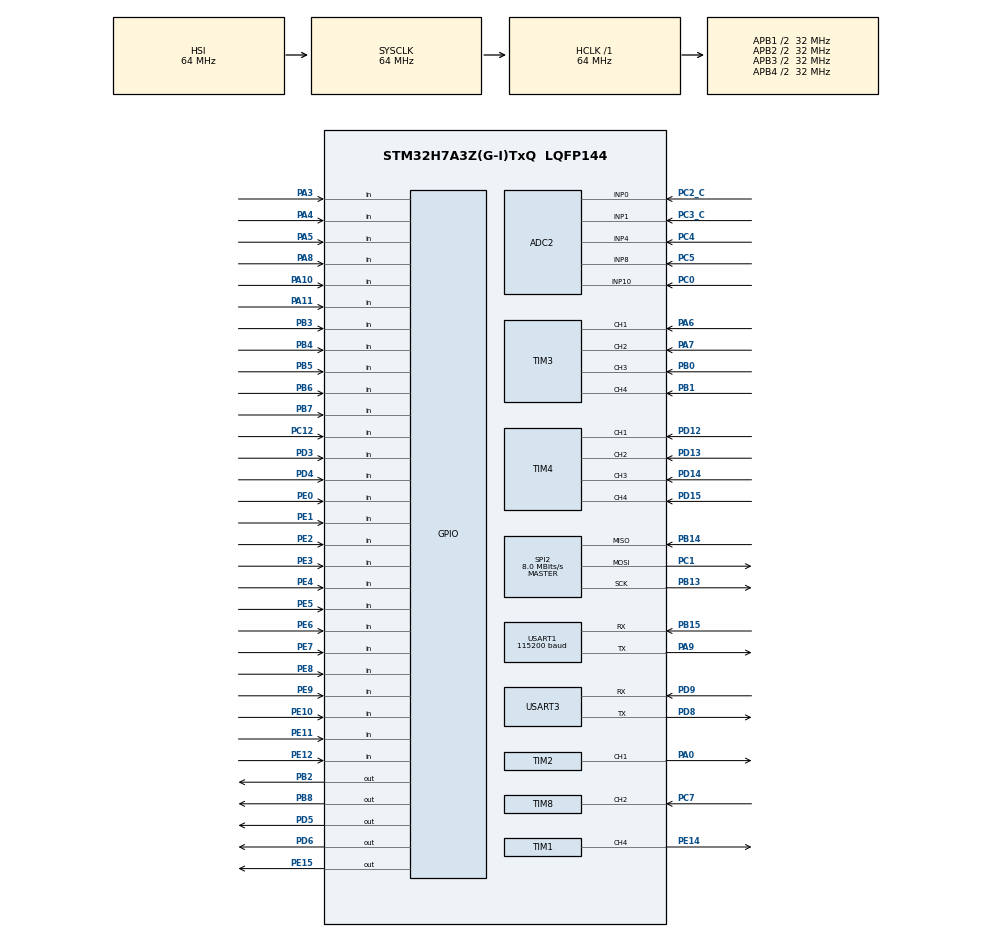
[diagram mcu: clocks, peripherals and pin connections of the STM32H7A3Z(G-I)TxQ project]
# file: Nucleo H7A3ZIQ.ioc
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ADC2.Channel-2\#ChannelRegularConversion=ADC_CHANNEL_0
ADC2.NbrOfConversionFlag=1
ADC2.OffsetNumber-2\#ChannelRegularConversion=ADC_OFFSET_NONE
ADC2.OffsetSignedSaturation-2\#ChannelRegularConversion=DISABLE
ADC2.Rank-2\#ChannelRegularConversion=1
ADC2.SamplingTime-2\#ChannelRegularConversion=ADC_SAMPLETIME_1CYCLE_5
CORTEX_M7.CPU_DCache=Disabled
CORTEX_M7.Enable-Cortex_Memory_Protection_Unit_Region0_Settings=MPU_REGION_ENABLE
CORTEX_M7.Enable-Cortex_Memory_Protection_Unit_Region1_Settings=MPU_REGION_ENABLE
CORTEX_M7.MPU_Control=__NULL
Dma.Request0=TIM3_CH1
Dma.Request1=USART3_RX
Dma.Request2=USART3_TX
Dma.TIM3_CH1.0.Direction=DMA_PERIPH_TO_MEMORY
Dma.TIM3_CH1.0.EventEnable=DISABLE
Dma.TIM3_CH1.0.FIFOMode=DMA_FIFOMODE_DISABLE
Dma.TIM3_CH1.0.Instance=DMA1_Stream0
Dma.TIM3_CH1.0.MemDataAlignment=DMA_MDATAALIGN_HALFWORD
Dma.TIM3_CH1.0.MemInc=DMA_MINC_ENABLE
Dma.TIM3_CH1.0.Mode=DMA_CIRCULAR
Dma.TIM3_CH1.0.PeriphDataAlignment=DMA_PDATAALIGN_HALFWORD
Dma.TIM3_CH1.0.PeriphInc=DMA_PINC_DISABLE
Dma.TIM3_CH1.0.Polarity=HAL_DMAMUX_REQ_GEN_RISING
Dma.TIM3_CH1.0.Priority=DMA_PRIORITY_LOW
Dma.TIM3_CH1.0.RequestNumber=1
Dma.TIM3_CH1.0.SignalID=NONE
Dma.TIM3_CH1.0.SyncEnable=DISABLE
Dma.TIM3_CH1.0.SyncPolarity=HAL_DMAMUX_SYNC_NO_EVENT
Dma.TIM3_CH1.0.SyncRequestNumber=1
Dma.TIM3_CH1.0.SyncSignalID=NONE
Dma.USART3_RX.1.Direction=DMA_PERIPH_TO_MEMORY
Dma.USART3_RX.1.EventEnable=DISABLE
Dma.USART3_RX.1.FIFOMode=DMA_FIFOMODE_DISABLE
Dma.USART3_RX.1.Instance=DMA1_Stream1
Dma.USART3_RX.1.MemDataAlignment=DMA_MDATAALIGN_BYTE
Dma.USART3_RX.1.MemInc=DMA_MINC_ENABLE
Dma.USART3_RX.1.Mode=DMA_CIRCULAR
Dma.USART3_RX.1.PeriphDataAlignment=DMA_PDATAALIGN_BYTE
Dma.USART3_RX.1.PeriphInc=DMA_PINC_DISABLE
Dma.USART3_RX.1.Polarity=HAL_DMAMUX_REQ_GEN_RISING
Dma.USART3_RX.1.Priority=DMA_PRIORITY_HIGH
Dma.USART3_RX.1.RequestNumber=1
Dma.USART3_RX.1.SignalID=NONE
Dma.USART3_RX.1.SyncEnable=DISABLE
Dma.USART3_RX.1.SyncPolarity=HAL_DMAMUX_SYNC_NO_EVENT
Dma.USART3_RX.1.SyncRequestNumber=1
Dma.USART3_RX.1.SyncSignalID=NONE
Dma.USART3_TX.2.Direction=DMA_MEMORY_TO_PERIPH
Dma.USART3_TX.2.EventEnable=DISABLE
Dma.USART3_TX.2.FIFOMode=DMA_FIFOMODE_DISABLE
Dma.USART3_TX.2.Instance=DMA1_Stream2
Dma.USART3_TX.2.MemDataAlignment=DMA_MDATAALIGN_BYTE
Dma.USART3_TX.2.MemInc=DMA_MINC_ENABLE
Dma.USART3_TX.2.Mode=DMA_CIRCULAR
Dma.USART3_TX.2.PeriphDataAlignment=DMA_PDATAALIGN_BYTE
Dma.USART3_TX.2.PeriphInc=DMA_PINC_DISABLE
Dma.USART3_TX.2.Polarity=HAL_DMAMUX_REQ_GEN_RISING
Dma.USART3_TX.2.Priority=DMA_PRIORITY_HIGH
Dma.USART3_TX.2.RequestNumber=1
Dma.USART3_TX.2.SignalID=NONE
Dma.USART3_TX.2.SyncEnable=DISABLE
Dma.USART3_TX.2.SyncPolarity=HAL_DMAMUX_SYNC_NO_EVENT
Dma.USART3_TX.2.SyncRequestNumber=1
Dma.USART3_TX.2.SyncSignalID=NONE
Mcu.Family=STM32H7
Mcu.Name=STM32H7A3Z(G-I)TxQ
Mcu.Package=LQFP144
NVIC.DMA1_Stream0_IRQn=true\:0\:0\:false\:false\:true\:false\:true
NVIC.DMA1_Stream1_IRQn=true\:0\:0\:false\:false\:true\:false\:true
NVIC.DMA1_Stream2_IRQn=true\:0\:0\:false\:false\:true\:false\:true
NVIC.PriorityGroup=NVIC_PRIORITYGROUP_4
NVIC.TIM3_IRQn=true\:0\:0\:false\:false\:true\:true\:true
NVIC.TIM8_CC_IRQn=true\:0\:0\:false\:false\:true\:true\:true
NVIC.USART1_IRQn=true\:0\:0\:false\:false\:true\:true\:true
PA0.Signal=S_TIM2_CH1
PA10.Signal=GPIO_Input
PA11.Signal=GPIO_Input
PA13.Mode=Serial_Wire
PA13.Signal=DEBUG_JTMS-SWDIO
PA14.Mode=Serial_Wire
PA14.Signal=DEBUG_JTCK-SWCLK
PA3.Signal=GPIO_Input
PA4.Signal=GPIO_Input
PA5.Signal=GPIO_Input
PA6.Signal=S_TIM3_CH1
PA7.Signal=S_TIM3_CH2
PA8.Signal=GPIO_Input
PA9.Mode=Asynchronous
PA9.Signal=USART1_TX
PB0.Signal=S_TIM3_CH3
PB1.Signal=S_TIM3_CH4
PB11.Signal=S_TIM2_CH4
PB13.GPIO_Speed=GPIO_SPEED_FREQ_HIGH
PB13.Mode=Full_Duplex_Master
PB13.Signal=SPI2_SCK
PB14.GPIO_Speed=GPIO_SPEED_FREQ_HIGH
PB14.Mode=Full_Duplex_Master
PB14.Signal=SPI2_MISO
PB15.Mode=Asynchronous
PB15.Signal=USART1_RX
PB2.Signal=GPIO_Output
PB3.Signal=GPIO_Input
PB4.Signal=GPIO_Input
PB5.Signal=GPIO_Input
PB6.Signal=GPIO_Input
PB7.Signal=GPIO_Input
PB8.Signal=GPIO_Output
PC0.Signal=ADCx_INP10
PC1.GPIO_Speed=GPIO_SPEED_FREQ_HIGH
PC1.Mode=Full_Duplex_Master
PC1.Signal=SPI2_MOSI
PC12.Signal=GPIO_Input
PC2_C.Mode=IN0-Single-Ended
PC2_C.Signal=ADC2_INP0
PC3_C.Mode=IN1-Single-Ended
PC3_C.Signal=ADC2_INP1
PC4.Signal=ADCx_INP4
PC5.Signal=ADCx_INP8
PC7.Signal=S_TIM8_CH2
PD12.Signal=S_TIM4_CH1
PD13.Signal=S_TIM4_CH2
PD14.Signal=S_TIM4_CH3
PD15.Signal=S_TIM4_CH4
PD3.Signal=GPIO_Input
PD4.Signal=GPIO_Input
PD5.Signal=GPIO_Output
PD6.Signal=GPIO_Output
PD8.Mode=Asynchronous
PD8.Signal=USART3_TX
PD9.Mode=Asynchronous
PD9.Signal=USART3_RX
PE0.Signal=GPIO_Input
PE1.Signal=GPIO_Input
PE10.Signal=GPIO_Input
PE11.Signal=GPIO_Input
PE12.Signal=GPIO_Input
PE14.Signal=S_TIM1_CH4
PE15.Signal=GPIO_Output
PE2.Signal=GPIO_Input
PE3.Signal=GPIO_Input
PE4.Signal=GPIO_Input
PE5.Signal=GPIO_Input
PE6.Signal=GPIO_Input
PE7.Signal=GPIO_Input
PE8.Signal=GPIO_Input
PE9.Signal=GPIO_Input
ProjectManager.HeapSize=0x200
ProjectManager.StackSize=0x400
ProjectManager.TargetToolchain=EWARM V8.32
RCC.ADCFreq_Value=129000000
RCC.APB1Freq_Value=32000000
RCC.APB2Freq_Value=32000000
RCC.APB3Freq_Value=32000000
RCC.APB4Freq_Value=32000000
RCC.CDPPRE=RCC_APB3_DIV2
RCC.CDPPRE1=RCC_APB1_DIV2
RCC.CDPPRE2=RCC_APB2_DIV2
RCC.CortexFreq_Value=64000000
RCC.DIVM1=4
RCC.DIVN1=8
RCC.DIVQ1=1
RCC.HCLKFreq_Value=64000000
RCC.PLLFRACN=0
RCC.SRDPPRE=RCC_APB4_DIV2
RCC.SYSCLKFreq_VALUE=64000000
RCC.USBFreq_Value=128000000
SH.ADCx_INP10.0=ADC2_INP10,IN10-Single-Ended
SH.ADCx_INP4.0=ADC2_INP4,IN4-Single-Ended
SH.ADCx_INP8.0=ADC2_INP8,IN8-Single-Ended
SH.S_TIM1_CH4.0=TIM1_CH4,PWM Generation4 CH4
SH.S_TIM2_CH1.0=TIM2_CH1,PWM Generation1 CH1
SH.S_TIM2_CH4.0=TIM2_CH4
SH.S_TIM3_CH1.0=TIM3_CH1,Input_Capture1_from_TI1
SH.S_TIM3_CH2.0=TIM3_CH2,Input_Capture2_from_TI2
SH.S_TIM3_CH3.0=TIM3_CH3,Input_Capture3_from_TI3
SH.S_TIM3_CH4.0=TIM3_CH4,Input_Capture4_from_TI4
SH.S_TIM4_CH1.0=TIM4_CH1,Input_Capture1_from_TI1
SH.S_TIM4_CH2.0=TIM4_CH2,Input_Capture2_from_TI2
SH.S_TIM4_CH3.0=TIM4_CH3,Input_Capture3_from_TI3
SH.S_TIM4_CH4.0=TIM4_CH4,Input_Capture4_from_TI4
SH.S_TIM8_CH2.0=TIM8_CH2,Input_Capture2_from_TI2
SH.S_TIM8_CH2.1=TIM8_CH2,Input_Capture1_from_TI2
SPI2.BaudRatePrescaler=SPI_BAUDRATEPRESCALER_16
SPI2.CRCCalculation=SPI_CRCCALCULATION_DISABLE
SPI2.CalculateBaudRate=8.0 MBits/s
SPI2.DataSize=SPI_DATASIZE_8BIT
SPI2.Direction=SPI_DIRECTION_2LINES
SPI2.Mode=SPI_MODE_MASTER
SPI2.VirtualType=VM_MASTER
TIM1.Channel-PWM\ Generation4\ CH4=TIM_CHANNEL_4
TIM1.Period=64000
TIM1.Pulse-PWM\ Generation4\ CH4=32000
TIM2.Channel-PWM\ Generation1\ CH1=TIM_CHANNEL_1
TIM2.Period=4000
TIM2.Pulse-PWM\ Generation1\ CH1=2000
TIM3.Channel-Input_Capture1_from_TI1=TIM_CHANNEL_1
TIM3.Channel-Input_Capture2_from_TI2=TIM_CHANNEL_2
TIM3.Channel-Input_Capture3_from_TI3=TIM_CHANNEL_3
TIM3.Channel-Input_Capture4_from_TI4=TIM_CHANNEL_4
TIM3.TIM_MasterSlaveMode=TIM_MASTERSLAVEMODE_DISABLE
TIM4.Channel-Input_Capture1_from_TI1=TIM_CHANNEL_1
TIM4.Channel-Input_Capture2_from_TI2=TIM_CHANNEL_2
TIM4.Channel-Input_Capture3_from_TI3=TIM_CHANNEL_3
TIM4.Channel-Input_Capture4_from_TI4=TIM_CHANNEL_4
TIM8.Channel-Input_Capture1_from_TI2=TIM_CHANNEL_1
TIM8.Channel-Input_Capture2_from_TI2=TIM_CHANNEL_2
TIM8.ICPolarity_CH1=TIM_INPUTCHANNELPOLARITY_FALLING
USART1.BaudRate=115200
USART1.FIFOMode=FIFOMODE_ENABLE
USART1.VirtualMode-Asynchronous=VM_ASYNC
USART3.FIFOMode=FIFOMODE_DISABLE
USART3.VirtualMode-Asynchronous=VM_ASYNC
VP_ADC2_TempSens_Input.Mode=IN-TempSens
VP_ADC2_Vbat_Input.Mode=IN-Vbat
VP_ADC2_Vref_Input.Mode=IN-Vrefint
board=custom

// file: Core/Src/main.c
/* USER CODE BEGIN Header */
/**
  ******************************************************************************
  * @file           : main.c
  * @brief          : Main program body
  ******************************************************************************
  * @attention
  *
  * <h2><center>&copy; Copyright (c) 2021 STMicroelectronics.
  * All rights reserved.</center></h2>
  *
  * This software component is licensed by ST under BSD 3-Clause license,
  * the "License"; You may not use this file except in compliance with the
  * License. You may obtain a copy of the License at:
  *                        opensource.org/licenses/BSD-3-Clause
  *
  ******************************************************************************
  */
#include <stdio.h>
#include <string.h>
#include <stdbool.h>
/* USER CODE END Header */
#include "main.h"

/* USER CODE BEGIN PD */
#define ECOMILK_DEBUG           0
#if ECOMILK_DEBUG == 1
  #define DEBUG_PRINT           printf
#else
  #define DEBUG_PRINT
#endif
#define ECOMILK_DEBUG_TIMEOUT   10
#define ECOMILK_TIMEOUT         ECOMILK_DEBUG_TIMEOUT
/* USER CODE END PD */

/* USER CODE BEGIN PM */

//Inputs
#define	ACTUATOR_BACKWARD_COM_PORT      GPIOE
#define	ACTUATOR_BACKWARD_COM_PIN       GPIO_PIN_12
#define	ACTUATOR_FORWARD_COM_PORT       GPIOE
#define	ACTUATOR_FORWARD_COM_PIN        GPIO_PIN_11
#define	ROTATE_Z_CW_COM_PORT            GPIOE
#define	ROTATE_Z_CW_COM_PIN             GPIO_PIN_10
#define	ROTATE_Z_CCW_COM_PORT           GPIOE
#define	ROTATE_Z_CCW_COM_PIN            GPIO_PIN_9
#define	TILT_CCW_COM_PORT               GPIOE
#define	TILT_CCW_COM_PIN                GPIO_PIN_8
#define	TILT_CW_COM_PORT                GPIOE
#define	TILT_CW_COM_PIN                 GPIO_PIN_7
#define	MOTOR_Z_DOWN_COM_PORT           GPIOE
#define	MOTOR_Z_DOWN_COM_PIN            GPIO_PIN_6
#define	MOTOR_Z_UP_COM_PORT             GPIOE
#define	MOTOR_Z_UP_COM_PIN              GPIO_PIN_5
#define	ACTUATOR_Y_BACKWARD_COM_PORT    GPIOE
#define	ACTUATOR_Y_BACKWARD_COM_PIN     GPIO_PIN_4
#define	ACTUATOR_Y_FORWARD_COM_PORT     GPIOE
#define	ACTUATOR_Y_FORWARD_COM_PIN      GPIO_PIN_3
#define	X_BACKWARD_COM_PORT             GPIOE
#define	X_BACKWARD_COM_PIN              GPIO_PIN_2
#define	X_FORWARD_COM_PORT              GPIOE
#define	X_FORWARD_COM_PIN               GPIO_PIN_1

//Outputs
#define	CS_N_PORT                       GPIOB
#define	CS_N_PIN                        GPIO_PIN_8
#define	MOT_M1_PORT                     GPIOD
#define	MOT_M1_PIN                      GPIO_PIN_6

#define DIR_MOTOR_Z                             1
#define DIR_MOTOR_TILT                          2
#define DIR_MOTOR_ROTATE                        3
#define DIR_MOTOR_X                             4
#define DIR_MOTOR_1                             5
#define DIR_MOTOR_2                             6
#define DIR_MOTOR_Y                             7
#define DIR_MOTOR_SP_1                          0
#define DIR_MOTOR_END_AFFECTO                   1
#define DIR_MOTOR_END_AFFECTO_A_1_2_3_4         2

#define LIN_MOTOR_Y                             1
#define LIN_MOTOR_SP_1                          2
#define LIN_MOTOR_END_AFFECTO                   3
#define LIN_MOTOR_END_AFFECTO_2                 4
#define LIN_MOTOR_END_AFFECTO_3                 5
#define LIN_MOTOR_END_AFFECTO_4                 6

#define DEC0                                    5
#define DEC1                                    6
#define DEC2                                    7

/* USER CODE END PM */

ADC_HandleTypeDef hadc2;

SPI_HandleTypeDef hspi2;

TIM_HandleTypeDef htim1;
TIM_HandleTypeDef htim2;
TIM_HandleTypeDef htim3;
TIM_HandleTypeDef htim4;
TIM_HandleTypeDef htim8;
DMA_HandleTypeDef hdma_tim3_ch1;

UART_HandleTypeDef huart1;
UART_HandleTypeDef huart3;
DMA_HandleTypeDef hdma_usart3_rx;
DMA_HandleTypeDef hdma_usart3_tx;

/* USER CODE BEGIN PV */

static volatile int tim8_falling = 0;
static volatile int tim8_rising = 0;
static volatile int tim8_delta = 0;

uint8_t ecomilk[] = {'\r', '\n', 'E', 'c', 'o', 'M', 'i', 'l', 'k', '\r', '\n'};
/* USER CODE END PV */

void SystemClock_Config(void);
static void MX_GPIO_Init(void);
static void MX_DMA_Init(void);
static void MX_USART1_UART_Init(void);
static void MX_ADC2_Init(void);
static void MX_SPI2_Init(void);
static void MX_TIM1_Init(void);
static void MX_TIM2_Init(void);
static void MX_TIM3_Init(void);
static void MX_TIM4_Init(void);
static void MX_USART3_UART_Init(void);
static void MX_TIM8_Init(void);

/* USER CODE BEGIN 0 */

void cmd_send_32(uint8_t dir_0, uint8_t dir_1, uint8_t cmd_0, uint8_t cmd_1)
{
  uint8_t data[4];
  uint8_t rdata[4];
  memset(data, 0, sizeof(data));
  data[0] = dir_1;
  data[1] = dir_0;
  data[2] = cmd_1;
  data[3] = cmd_0;
  HAL_GPIO_WritePin(CS_N_PORT, CS_N_PIN, GPIO_PIN_RESET);
  HAL_SPI_TransmitReceive(&hspi2, data, rdata, sizeof(data), 500);
  //HAL_SPI_Transmit(&hspi2, data, sizeof(data), 500);
  HAL_GPIO_WritePin(CS_N_PORT, CS_N_PIN, GPIO_PIN_SET);
}

void cmd_send_16(uint8_t cmd_0, uint8_t cmd_1)
{
  uint8_t data[2];
  uint8_t rdata[2];
  memset(data, 0, sizeof(data));
  data[0] = cmd_1;
  data[1] = cmd_0;
  HAL_GPIO_WritePin(CS_N_PORT, CS_N_PIN, GPIO_PIN_RESET);
  HAL_SPI_TransmitReceive(&hspi2, data, rdata, sizeof(data), 500);
  //HAL_SPI_Transmit(&hspi2, data, sizeof(data), 500);
  HAL_GPIO_WritePin(CS_N_PORT, CS_N_PIN, GPIO_PIN_SET);
}

void HAL_TIM_IC_CaptureCallback(TIM_HandleTypeDef *htim)
{
  if(htim->Instance == TIM8)
  {
    if(htim->Channel == HAL_TIM_ACTIVE_CHANNEL_1)
      tim8_falling = READ_REG(htim->Instance->CCR1);
    else if(htim->Channel == HAL_TIM_ACTIVE_CHANNEL_2)
      tim8_rising = READ_REG(htim->Instance->CCR2);

    if(tim8_falling > tim8_rising)
      tim8_delta = tim8_falling - tim8_rising;
  }
}

/* USER CODE END 0 */

int main(void)
{

  /* MCU Configuration--------------------------------------------------------*/

  /* Reset of all peripherals, Initializes the Flash interface and the Systick. */
  HAL_Init();

  /* Configure the system clock */
  SystemClock_Config();

  /* Initialize all configured peripherals */
  MX_GPIO_Init();
  MX_DMA_Init();
  MX_USART1_UART_Init();
  MX_ADC2_Init();
  MX_SPI2_Init();
  MX_TIM1_Init();
  MX_TIM2_Init();
  MX_TIM3_Init();
  MX_TIM4_Init();
  MX_USART3_UART_Init();
  MX_TIM8_Init();
  /* USER CODE BEGIN 2 */
  HAL_TIM_PWM_Start(&htim1, TIM_CHANNEL_4);
  HAL_TIM_PWM_Start(&htim2, TIM_CHANNEL_1);

  volatile uint16_t pData_3_1[] = {0x1111, 0x2222};
  //volatile uint16_t* pData_3_1_0 = &pData_3_1[0];
  //volatile uint16_t* pData_3_1_1 = &pData_3_1[1];
  int period_measured = 0;
  int period = 0;
  HAL_TIM_IC_Start_DMA(&htim3, TIM_CHANNEL_1, (uint32_t*)pData_3_1, sizeof(pData_3_1));

  HAL_TIM_IC_Start_IT(&htim8, TIM_CHANNEL_1);
  HAL_TIM_IC_Start_IT(&htim8, TIM_CHANNEL_2);

  uint8_t pDataTx[] = {0x11, 0x22, 0x33, 0x44, 0x55, 0x66, 0x77, 0x88, 0x99, 0xaa};
  uint8_t pDataRx[10];
  uint8_t pDataTx_USART3_DMA[] = {0x11, 0x22, 0x33, 0x44, 0x55, 0x66, 0x77, 0x88, 0x99, 0xaa};
  uint8_t pDataRx_USART3_DMA[10];

  /* USER CODE END 2 */

  /* Infinite loop */
  /* USER CODE BEGIN WHILE */
  bool actuator_backward = false;
  bool actuator_forward = false;
  bool rotate_z_cw = false;
  bool rotate_z_ccw = false;
  bool tilt_ccw = false;
  bool tilt_cw = false;
  bool motor_z_down = false;
  bool motor_z_up = false;
  bool actuator_y_backward = false;
  bool actuator_y_forward = false;
  bool x_backward = false;
  bool x_forward = false;

  while (1)
  {
    if(__HAL_DMA_GET_FLAG(&hdma_tim3_ch1, DMA_FLAG_TCIF0_4) != 0U)
    {
      //period_measured = *pData_3_1_1 - *pData_3_1_0;
      period_measured = pData_3_1[1] - pData_3_1[0];
      if((period <= 0) || ((period_measured > 0) && (period_measured < (period * 2))))
        period = period_measured;
      printf("period %d\n", period);
    }

    // 1, 2
    //if(HAL_GPIO_ReadPin(ACTUATOR_BACKWARD_COM_PORT, ACTUATOR_BACKWARD_COM_PIN) == GPIO_PIN_SET)
    {
      if(!actuator_backward)
      {
        actuator_backward = true;
        cmd_send_32(0x00, 0x00 | (0x01 << DEC0), 0x00 | (0x01 << LIN_MOTOR_SP_1), 0x00 | (0x01 << DEC0) | (0x01 << DEC1));
      }
    }
    //else
    {
      if(actuator_backward)
      {
        actuator_backward = false;
        cmd_send_16(0x00, 0x00 | (0x01 << DEC0) | (0x01 << DEC1));
      }
    }

    // 3, 4
    //if(HAL_GPIO_ReadPin(ACTUATOR_FORWARD_COM_PORT, ACTUATOR_FORWARD_COM_PIN) == GPIO_PIN_SET)
    {
      if(!actuator_forward)
      {
        actuator_forward = true;
        cmd_send_32(0x00, 0x00 | (1 << DIR_MOTOR_SP_1) | (1 << DEC0), 0x00 | (1 << LIN_MOTOR_SP_1), 0x00 | (1 << DEC0) | (1 << DEC1));
      }
    }
    //else
    {
      if(actuator_forward)
      {
        actuator_forward = false;
        cmd_send_16(0x00 ,0x00 | (1 << DEC0) | (1 << DEC1));
      }
    }

    // 5, 6
    //if(HAL_GPIO_ReadPin(ROTATE_Z_CW_COM_PORT, ROTATE_Z_CW_COM_PIN) == GPIO_PIN_SET)
    {
      if(!rotate_z_cw)
      {
        rotate_z_cw = true;
        cmd_send_32(0x00 | (1 << DIR_MOTOR_ROTATE), 0x00 | (1 << DEC0), 0x00 | (1 << DIR_MOTOR_ROTATE), 0x00 | (1 << DEC1));
      }
    }
    //else
    {
      if(rotate_z_cw)
      {
        rotate_z_cw = false;
        cmd_send_16(0x00, 0x00 | (1 << DEC1));
      }
    }

    // 7, 8
    //if(HAL_GPIO_ReadPin(ROTATE_Z_CCW_COM_PORT, ROTATE_Z_CCW_COM_PIN) == GPIO_PIN_SET)
    {
      if(!rotate_z_ccw)
      {
        rotate_z_ccw = true;
        cmd_send_32(0x00, 0x00 | (1 << DEC0), 0x00 | (1 << DIR_MOTOR_ROTATE), 0x00 | (1 << DEC1));
      }
    }
    //else
    {
      if(rotate_z_ccw)
      {
        rotate_z_ccw = false;
        cmd_send_16(0x00, 0x00 | (1 << DEC1));
      }
    }

    // 9, 10
    //if(HAL_GPIO_ReadPin(TILT_CCW_COM_PORT, TILT_CCW_COM_PIN) == GPIO_PIN_SET)
    {
      if(!tilt_ccw)
      {
        tilt_ccw = true;
        cmd_send_32(0x00, 0x00 | (1 << DEC0), 0x00 | (1 << DIR_MOTOR_TILT), 0x00 | (1 << DEC1));
      }
    }
    //else
    {
      if(tilt_ccw)
      {
        tilt_ccw = false;
        cmd_send_16(0x00, 0x00 | (1 << DEC1));
      }
    }

    // 11, 12
    //if(HAL_GPIO_ReadPin(TILT_CW_COM_PORT, TILT_CW_COM_PIN) == GPIO_PIN_SET)
    {
      if(!tilt_cw)
      {
        tilt_cw = true;
        cmd_send_32(0x00 | (1 << DIR_MOTOR_TILT), 0x00 | (1 << DEC0), 0x00 | (1 << DIR_MOTOR_TILT), 0x00 | (1 << DEC1));
      }
    }
    //else
    {
      if(tilt_cw)
      {
        tilt_cw = false;
        cmd_send_16(0x00, 0x00 | (1 << DEC1));
      }
    }
    // 13, 14
    //if(HAL_GPIO_ReadPin(MOTOR_Z_DOWN_COM_PORT, MOTOR_Z_DOWN_COM_PIN) == GPIO_PIN_SET)
    {
      if(!motor_z_down)
      {
        motor_z_down = true;
        cmd_send_32(0x00, 0x00 | (1 << DEC0), 0x00 | (1 << DIR_MOTOR_Z), 0x00 | (1 << DEC1));
      }
    }
    //else
    {
      if(motor_z_down)
      {
        motor_z_down = false;
        cmd_send_16(0x00, 0x00 | (1 << DEC1));
      }
    }

    // 15, 16
    //if(HAL_GPIO_ReadPin(MOTOR_Z_UP_COM_PORT, MOTOR_Z_UP_COM_PIN) == GPIO_PIN_SET)
    {
      if(!motor_z_up)
      {
        motor_z_up = true;
        cmd_send_32(0x00 | (1 << DIR_MOTOR_Z), 0x00 | (1 << DEC0), 0x00 | (1 << DIR_MOTOR_Z), 0x00 | (1 << DEC1));
      }
    }
    //else
    {
      if(motor_z_up)
      {
        motor_z_up = false;
        cmd_send_16(0x00, 0x00 | (1 << DEC1));
      }
    }

    // 17, 18
    //if(HAL_GPIO_ReadPin(ACTUATOR_Y_BACKWARD_COM_PORT, ACTUATOR_Y_BACKWARD_COM_PIN) == GPIO_PIN_SET)
    {
      if(!actuator_y_backward)
      {
        actuator_y_backward = true;
        cmd_send_32(0x00, 0x00 | (1 << DEC0), 0x00 | (1 << LIN_MOTOR_Y), 0x00 | (1 << DEC0) | (1 << DEC1));
      }
    }
    //else
    {
      if(actuator_y_backward)
      {
        actuator_y_backward = false;
        cmd_send_16(0x00, 0x00 | (1 << DEC0) | (1 << DEC1));
      }
    }

    // 19, 20
    //if(HAL_GPIO_ReadPin(ACTUATOR_Y_FORWARD_COM_PORT, ACTUATOR_Y_FORWARD_COM_PIN) == GPIO_PIN_SET)
    {
      if(!actuator_y_forward)
      {
        actuator_y_forward = true;
        cmd_send_32(0x00 | (1 << DIR_MOTOR_Y), 0x00 | (1 << DEC0), 0x00 | (1 << LIN_MOTOR_Y), 0x00 | (1 << DEC0) | (1 << DEC1));
      }
    }
    //else
    {
      if(actuator_y_forward)
      {
        actuator_y_forward = false;
        cmd_send_16(0x00, 0x00 | (1 << DEC0) | (1 << DEC1));
      }
    }

    // 21, 22
    //if(HAL_GPIO_ReadPin(X_BACKWARD_COM_PORT, X_BACKWARD_COM_PIN) == GPIO_PIN_SET)
    {
      if(!x_backward)
      {
        x_backward = true;
        cmd_send_32(0x00, 0x00 | (1 << DEC0), 0x00 | (1 << DIR_MOTOR_X), 0x00 | (1 << DEC1));
      }
    }
    //else
    {
      if(x_backward)
      {
        x_backward = false;
        cmd_send_16(0x00, 0x00 | (1 << DEC1));
      }
    }

    // 23, 24
    //if(HAL_GPIO_ReadPin(X_FORWARD_COM_PORT, X_FORWARD_COM_PIN) == GPIO_PIN_SET)
    {
      if(!x_forward)
      {
        x_forward = true;
        cmd_send_32(0x00 | (1 << DIR_MOTOR_X), 0x00 | (1 << DEC0), 0x00 | (1 << DIR_MOTOR_X), 0x00 | (1 << DEC1));
      }
    }
    //else
    {
      if(x_forward)
      {
        x_forward = false;
        cmd_send_16(0x00, 0x00 | (1 << DEC1));
      }
    }

    //for(int i = 0; i < 1000; i++);

    // Working

    HAL_UART_Transmit(&huart1, ecomilk, sizeof(ecomilk), ECOMILK_TIMEOUT);
    HAL_UART_Receive(&huart1, ecomilk, sizeof(ecomilk), ECOMILK_TIMEOUT);
    for(int i = 0; i < sizeof(ecomilk); i++)
      printf("%x ", ecomilk[i]);
    printf("\n");

    // USART1 Fifo enabled
    memset(pDataRx, 0, sizeof(pDataRx));
    for(int i = 0; i < 10; i++)
    {
      HAL_UART_Transmit(&huart1, &pDataTx[i], 1, 10);
      HAL_UART_Receive(&huart1, &pDataRx[i], 1, 10);
    }

    memset(pDataRx, 0, sizeof(pDataRx));
    HAL_UART_Transmit(&huart1, pDataTx, sizeof(pDataTx), 10);
    HAL_UART_Receive(&huart1, pDataRx, sizeof(pDataRx), 10);

    memset(pDataRx, 0, sizeof(pDataRx));
    HAL_SPI_TransmitReceive(&hspi2, pDataTx, pDataRx, sizeof(pDataTx), 10);

    memset(pDataRx, 0, sizeof(pDataRx));
    HAL_SPI_Transmit(&hspi2, pDataTx, sizeof(pDataTx), 10);
    HAL_SPI_Receive(&hspi2, pDataRx, sizeof(pDataRx), 10);

    memset(pDataRx, 0, sizeof(pDataRx));
    for(int i = 0; i < 10; i++)
    {
      HAL_SPI_Transmit(&hspi2, &pDataTx[i], 1, 10);
      HAL_SPI_Receive(&hspi2, &pDataRx[i], 1, 10);
    }

    // USART3 Fifo disabled
    memset(pDataRx_USART3_DMA, 0, sizeof(pDataRx_USART3_DMA));
    HAL_UART_Transmit_DMA(&huart3, pDataTx_USART3_DMA, sizeof(pDataTx_USART3_DMA));
    HAL_UART_Receive_DMA(&huart3, pDataRx_USART3_DMA, sizeof(pDataRx_USART3_DMA));
    for(int i = 0; i < sizeof(pDataRx_USART3_DMA); i++)
      printf("%x ", pDataRx_USART3_DMA[i]);
    printf("\n");

    for(int i = 0; i < 1000; i++);

#if 0

    // Working

    {
      memset(pDataRx, 0, sizeof(pDataRx));
      for(int i = 0; i < 10; i++)
      {
        HAL_UART_Transmit(&huart3, &pDataTx[i], 1, 10);
        HAL_UART_Receive(&huart3, &pDataRx[i], 1, 10);
      }
    }

    //Not working
    {
      memset(pDataRx, 0, sizeof(pDataRx));
      HAL_UART_Transmit(&huart3, pDataTx, sizeof(pDataTx), 10);
      HAL_UART_Receive(&huart3, pDataRx, sizeof(pDataRx), 10);
    }

#endif

    /* USER CODE END WHILE */

  }
}

void SystemClock_Config(void)
{
  RCC_OscInitTypeDef RCC_OscInitStruct = {0};
  RCC_ClkInitTypeDef RCC_ClkInitStruct = {0};

  /** Supply configuration update enable
  */
  HAL_PWREx_ConfigSupply(PWR_DIRECT_SMPS_SUPPLY);
  /** Configure the main internal regulator output voltage
  */
  __HAL_PWR_VOLTAGESCALING_CONFIG(PWR_REGULATOR_VOLTAGE_SCALE3);

  while(!__HAL_PWR_GET_FLAG(PWR_FLAG_VOSRDY)) {}
  /** Macro to configure the PLL clock source
  */
  __HAL_RCC_PLL_PLLSOURCE_CONFIG(RCC_PLLSOURCE_HSI);
  /** Initializes the RCC Oscillators according to the specified parameters
  * in the RCC_OscInitTypeDef structure.
  */
  RCC_OscInitStruct.OscillatorType = RCC_OSCILLATORTYPE_HSI;
  RCC_OscInitStruct.HSIState = RCC_HSI_DIV1;
  RCC_OscInitStruct.HSICalibrationValue = RCC_HSICALIBRATION_DEFAULT;
  RCC_OscInitStruct.PLL.PLLState = RCC_PLL_ON;
  RCC_OscInitStruct.PLL.PLLSource = RCC_PLLSOURCE_HSI;
  RCC_OscInitStruct.PLL.PLLM = 4;
  RCC_OscInitStruct.PLL.PLLN = 8;
  RCC_OscInitStruct.PLL.PLLP = 2;
  RCC_OscInitStruct.PLL.PLLQ = 1;
  RCC_OscInitStruct.PLL.PLLR = 2;
  RCC_OscInitStruct.PLL.PLLRGE = RCC_PLL1VCIRANGE_3;
  RCC_OscInitStruct.PLL.PLLVCOSEL = RCC_PLL1VCOWIDE;
  RCC_OscInitStruct.PLL.PLLFRACN = 0;
  if (HAL_RCC_OscConfig(&RCC_OscInitStruct) != HAL_OK)
  {
    Error_Handler();
  }
  /** Initializes the CPU, AHB and APB buses clocks
  */
  RCC_ClkInitStruct.ClockType = RCC_CLOCKTYPE_HCLK|RCC_CLOCKTYPE_SYSCLK
                              |RCC_CLOCKTYPE_PCLK1|RCC_CLOCKTYPE_PCLK2
                              |RCC_CLOCKTYPE_D3PCLK1|RCC_CLOCKTYPE_D1PCLK1;
  RCC_ClkInitStruct.SYSCLKSource = RCC_SYSCLKSOURCE_HSI;
  RCC_ClkInitStruct.SYSCLKDivider = RCC_SYSCLK_DIV1;
  RCC_ClkInitStruct.AHBCLKDivider = RCC_HCLK_DIV1;
  RCC_ClkInitStruct.APB3CLKDivider = RCC_APB3_DIV2;
  RCC_ClkInitStruct.APB1CLKDivider = RCC_APB1_DIV2;
  RCC_ClkInitStruct.APB2CLKDivider = RCC_APB2_DIV2;
  RCC_ClkInitStruct.APB4CLKDivider = RCC_APB4_DIV2;

  if (HAL_RCC_ClockConfig(&RCC_ClkInitStruct, FLASH_LATENCY_2) != HAL_OK)
  {
    Error_Handler();
  }
}

static void MX_ADC2_Init(void)
{

  ADC_ChannelConfTypeDef sConfig = {0};

  /** Common config
  */
  hadc2.Instance = ADC2;
  hadc2.Init.ClockPrescaler = ADC_CLOCK_ASYNC_DIV1;
  hadc2.Init.Resolution = ADC_RESOLUTION_16B;
  hadc2.Init.ScanConvMode = ADC_SCAN_DISABLE;
  hadc2.Init.EOCSelection = ADC_EOC_SINGLE_CONV;
  hadc2.Init.LowPowerAutoWait = DISABLE;
  hadc2.Init.ContinuousConvMode = DISABLE;
  hadc2.Init.NbrOfConversion = 1;
  hadc2.Init.DiscontinuousConvMode = DISABLE;
  hadc2.Init.ExternalTrigConv = ADC_SOFTWARE_START;
  hadc2.Init.ExternalTrigConvEdge = ADC_EXTERNALTRIGCONVEDGE_NONE;
  hadc2.Init.ConversionDataManagement = ADC_CONVERSIONDATA_DR;
  hadc2.Init.Overrun = ADC_OVR_DATA_PRESERVED;
  hadc2.Init.LeftBitShift = ADC_LEFTBITSHIFT_NONE;
  hadc2.Init.OversamplingMode = DISABLE;
  if (HAL_ADC_Init(&hadc2) != HAL_OK)
  {
    Error_Handler();
  }
  /** Configure Regular Channel
  */
  sConfig.Channel = ADC_CHANNEL_0;
  sConfig.Rank = ADC_REGULAR_RANK_1;
  sConfig.SamplingTime = ADC_SAMPLETIME_1CYCLE_5;
  sConfig.SingleDiff = ADC_SINGLE_ENDED;
  sConfig.OffsetNumber = ADC_OFFSET_NONE;
  sConfig.Offset = 0;
  sConfig.OffsetSignedSaturation = DISABLE;
  if (HAL_ADC_ConfigChannel(&hadc2, &sConfig) != HAL_OK)
  {
    Error_Handler();
  }

}

static void MX_SPI2_Init(void)
{

  /* SPI2 parameter configuration*/
  hspi2.Instance = SPI2;
  hspi2.Init.Mode = SPI_MODE_MASTER;
  hspi2.Init.Direction = SPI_DIRECTION_2LINES;
  hspi2.Init.DataSize = SPI_DATASIZE_8BIT;
  hspi2.Init.CLKPolarity = SPI_POLARITY_LOW;
  hspi2.Init.CLKPhase = SPI_PHASE_1EDGE;
  hspi2.Init.NSS = SPI_NSS_SOFT;
  hspi2.Init.BaudRatePrescaler = SPI_BAUDRATEPRESCALER_16;
  hspi2.Init.FirstBit = SPI_FIRSTBIT_MSB;
  hspi2.Init.TIMode = SPI_TIMODE_DISABLE;
  hspi2.Init.CRCCalculation = SPI_CRCCALCULATION_DISABLE;
  hspi2.Init.CRCPolynomial = 0x0;
  hspi2.Init.NSSPMode = SPI_NSS_PULSE_ENABLE;
  hspi2.Init.NSSPolarity = SPI_NSS_POLARITY_LOW;
  hspi2.Init.FifoThreshold = SPI_FIFO_THRESHOLD_01DATA;
  hspi2.Init.TxCRCInitializationPattern = SPI_CRC_INITIALIZATION_ALL_ZERO_PATTERN;
  hspi2.Init.RxCRCInitializationPattern = SPI_CRC_INITIALIZATION_ALL_ZERO_PATTERN;
  hspi2.Init.MasterSSIdleness = SPI_MASTER_SS_IDLENESS_00CYCLE;
  hspi2.Init.MasterInterDataIdleness = SPI_MASTER_INTERDATA_IDLENESS_00CYCLE;
  hspi2.Init.MasterReceiverAutoSusp = SPI_MASTER_RX_AUTOSUSP_DISABLE;
  hspi2.Init.MasterKeepIOState = SPI_MASTER_KEEP_IO_STATE_DISABLE;
  hspi2.Init.IOSwap = SPI_IO_SWAP_DISABLE;
  if (HAL_SPI_Init(&hspi2) != HAL_OK)
  {
    Error_Handler();
  }

}

static void MX_TIM1_Init(void)
{

  TIM_MasterConfigTypeDef sMasterConfig = {0};
  TIM_OC_InitTypeDef sConfigOC = {0};
  TIM_BreakDeadTimeConfigTypeDef sBreakDeadTimeConfig = {0};

  htim1.Instance = TIM1;
  htim1.Init.Prescaler = 0;
  htim1.Init.CounterMode = TIM_COUNTERMODE_UP;
  htim1.Init.Period = 64000;
  htim1.Init.ClockDivision = TIM_CLOCKDIVISION_DIV1;
  htim1.Init.RepetitionCounter = 0;
  htim1.Init.AutoReloadPreload = TIM_AUTORELOAD_PRELOAD_DISABLE;
  if (HAL_TIM_PWM_Init(&htim1) != HAL_OK)
  {
    Error_Handler();
  }
  sMasterConfig.MasterOutputTrigger = TIM_TRGO_RESET;
  sMasterConfig.MasterOutputTrigger2 = TIM_TRGO2_RESET;
  sMasterConfig.MasterSlaveMode = TIM_MASTERSLAVEMODE_DISABLE;
  if (HAL_TIMEx_MasterConfigSynchronization(&htim1, &sMasterConfig) != HAL_OK)
  {
    Error_Handler();
  }
  sConfigOC.OCMode = TIM_OCMODE_PWM1;
  sConfigOC.Pulse = 32000;
  sConfigOC.OCPolarity = TIM_OCPOLARITY_HIGH;
  sConfigOC.OCFastMode = TIM_OCFAST_DISABLE;
  sConfigOC.OCIdleState = TIM_OCIDLESTATE_RESET;
  sConfigOC.OCNIdleState = TIM_OCNIDLESTATE_RESET;
  if (HAL_TIM_PWM_ConfigChannel(&htim1, &sConfigOC, TIM_CHANNEL_4) != HAL_OK)
  {
    Error_Handler();
  }
  sBreakDeadTimeConfig.OffStateRunMode = TIM_OSSR_DISABLE;
  sBreakDeadTimeConfig.OffStateIDLEMode = TIM_OSSI_DISABLE;
  sBreakDeadTimeConfig.LockLevel = TIM_LOCKLEVEL_OFF;
  sBreakDeadTimeConfig.DeadTime = 0;
  sBreakDeadTimeConfig.BreakState = TIM_BREAK_DISABLE;
  sBreakDeadTimeConfig.BreakPolarity = TIM_BREAKPOLARITY_HIGH;
  sBreakDeadTimeConfig.BreakFilter = 0;
  sBreakDeadTimeConfig.Break2State = TIM_BREAK2_DISABLE;
  sBreakDeadTimeConfig.Break2Polarity = TIM_BREAK2POLARITY_HIGH;
  sBreakDeadTimeConfig.Break2Filter = 0;
  sBreakDeadTimeConfig.AutomaticOutput = TIM_AUTOMATICOUTPUT_DISABLE;
  if (HAL_TIMEx_ConfigBreakDeadTime(&htim1, &sBreakDeadTimeConfig) != HAL_OK)
  {
    Error_Handler();
  }
  HAL_TIM_MspPostInit(&htim1);

}

static void MX_TIM2_Init(void)
{

  TIM_MasterConfigTypeDef sMasterConfig = {0};
  TIM_OC_InitTypeDef sConfigOC = {0};

  htim2.Instance = TIM2;
  htim2.Init.Prescaler = 0;
  htim2.Init.CounterMode = TIM_COUNTERMODE_UP;
  htim2.Init.Period = 4000;
  htim2.Init.ClockDivision = TIM_CLOCKDIVISION_DIV1;
  htim2.Init.AutoReloadPreload = TIM_AUTORELOAD_PRELOAD_DISABLE;
  if (HAL_TIM_PWM_Init(&htim2) != HAL_OK)
  {
    Error_Handler();
  }
  sMasterConfig.MasterOutputTrigger = TIM_TRGO_RESET;
  sMasterConfig.MasterSlaveMode = TIM_MASTERSLAVEMODE_DISABLE;
  if (HAL_TIMEx_MasterConfigSynchronization(&htim2, &sMasterConfig) != HAL_OK)
  {
    Error_Handler();
  }
  sConfigOC.OCMode = TIM_OCMODE_PWM1;
  sConfigOC.Pulse = 2000;
  sConfigOC.OCPolarity = TIM_OCPOLARITY_HIGH;
  sConfigOC.OCFastMode = TIM_OCFAST_DISABLE;
  if (HAL_TIM_PWM_ConfigChannel(&htim2, &sConfigOC, TIM_CHANNEL_1) != HAL_OK)
  {
    Error_Handler();
  }
  HAL_TIM_MspPostInit(&htim2);

}

static void MX_TIM3_Init(void)
{

  TIM_MasterConfigTypeDef sMasterConfig = {0};
  TIM_IC_InitTypeDef sConfigIC = {0};

  htim3.Instance = TIM3;
  htim3.Init.Prescaler = 0;
  htim3.Init.CounterMode = TIM_COUNTERMODE_UP;
  htim3.Init.Period = 65535;
  htim3.Init.ClockDivision = TIM_CLOCKDIVISION_DIV1;
  htim3.Init.AutoReloadPreload = TIM_AUTORELOAD_PRELOAD_DISABLE;
  if (HAL_TIM_IC_Init(&htim3) != HAL_OK)
  {
    Error_Handler();
  }
  sMasterConfig.MasterOutputTrigger = TIM_TRGO_RESET;
  sMasterConfig.MasterSlaveMode = TIM_MASTERSLAVEMODE_DISABLE;
  if (HAL_TIMEx_MasterConfigSynchronization(&htim3, &sMasterConfig) != HAL_OK)
  {
    Error_Handler();
  }
  sConfigIC.ICPolarity = TIM_INPUTCHANNELPOLARITY_RISING;
  sConfigIC.ICSelection = TIM_ICSELECTION_DIRECTTI;
  sConfigIC.ICPrescaler = TIM_ICPSC_DIV1;
  sConfigIC.ICFilter = 0;
  if (HAL_TIM_IC_ConfigChannel(&htim3, &sConfigIC, TIM_CHANNEL_1) != HAL_OK)
  {
    Error_Handler();
  }
  if (HAL_TIM_IC_ConfigChannel(&htim3, &sConfigIC, TIM_CHANNEL_2) != HAL_OK)
  {
    Error_Handler();
  }
  if (HAL_TIM_IC_ConfigChannel(&htim3, &sConfigIC, TIM_CHANNEL_3) != HAL_OK)
  {
    Error_Handler();
  }
  if (HAL_TIM_IC_ConfigChannel(&htim3, &sConfigIC, TIM_CHANNEL_4) != HAL_OK)
  {
    Error_Handler();
  }

}

static void MX_TIM4_Init(void)
{

  TIM_MasterConfigTypeDef sMasterConfig = {0};
  TIM_IC_InitTypeDef sConfigIC = {0};

  htim4.Instance = TIM4;
  htim4.Init.Prescaler = 0;
  htim4.Init.CounterMode = TIM_COUNTERMODE_UP;
  htim4.Init.Period = 65535;
  htim4.Init.ClockDivision = TIM_CLOCKDIVISION_DIV1;
  htim4.Init.AutoReloadPreload = TIM_AUTORELOAD_PRELOAD_DISABLE;
  if (HAL_TIM_IC_Init(&htim4) != HAL_OK)
  {
    Error_Handler();
  }
  sMasterConfig.MasterOutputTrigger = TIM_TRGO_RESET;
  sMasterConfig.MasterSlaveMode = TIM_MASTERSLAVEMODE_DISABLE;
  if (HAL_TIMEx_MasterConfigSynchronization(&htim4, &sMasterConfig) != HAL_OK)
  {
    Error_Handler();
  }
  sConfigIC.ICPolarity = TIM_INPUTCHANNELPOLARITY_RISING;
  sConfigIC.ICSelection = TIM_ICSELECTION_DIRECTTI;
  sConfigIC.ICPrescaler = TIM_ICPSC_DIV1;
  sConfigIC.ICFilter = 0;
  if (HAL_TIM_IC_ConfigChannel(&htim4, &sConfigIC, TIM_CHANNEL_1) != HAL_OK)
  {
    Error_Handler();
  }
  if (HAL_TIM_IC_ConfigChannel(&htim4, &sConfigIC, TIM_CHANNEL_2) != HAL_OK)
  {
    Error_Handler();
  }
  if (HAL_TIM_IC_ConfigChannel(&htim4, &sConfigIC, TIM_CHANNEL_3) != HAL_OK)
  {
    Error_Handler();
  }
  if (HAL_TIM_IC_ConfigChannel(&htim4, &sConfigIC, TIM_CHANNEL_4) != HAL_OK)
  {
    Error_Handler();
  }

}

static void MX_TIM8_Init(void)
{

  TIM_MasterConfigTypeDef sMasterConfig = {0};
  TIM_IC_InitTypeDef sConfigIC = {0};

  htim8.Instance = TIM8;
  htim8.Init.Prescaler = 0;
  htim8.Init.CounterMode = TIM_COUNTERMODE_UP;
  htim8.Init.Period = 65535;
  htim8.Init.ClockDivision = TIM_CLOCKDIVISION_DIV1;
  htim8.Init.RepetitionCounter = 0;
  htim8.Init.AutoReloadPreload = TIM_AUTORELOAD_PRELOAD_DISABLE;
  if (HAL_TIM_IC_Init(&htim8) != HAL_OK)
  {
    Error_Handler();
  }
  sMasterConfig.MasterOutputTrigger = TIM_TRGO_RESET;
  sMasterConfig.MasterOutputTrigger2 = TIM_TRGO2_RESET;
  sMasterConfig.MasterSlaveMode = TIM_MASTERSLAVEMODE_DISABLE;
  if (HAL_TIMEx_MasterConfigSynchronization(&htim8, &sMasterConfig) != HAL_OK)
  {
    Error_Handler();
  }
  sConfigIC.ICPolarity = TIM_INPUTCHANNELPOLARITY_FALLING;
  sConfigIC.ICSelection = TIM_ICSELECTION_INDIRECTTI;
  sConfigIC.ICPrescaler = TIM_ICPSC_DIV1;
  sConfigIC.ICFilter = 0;
  if (HAL_TIM_IC_ConfigChannel(&htim8, &sConfigIC, TIM_CHANNEL_1) != HAL_OK)
  {
    Error_Handler();
  }
  sConfigIC.ICPolarity = TIM_INPUTCHANNELPOLARITY_RISING;
  sConfigIC.ICSelection = TIM_ICSELECTION_DIRECTTI;
  if (HAL_TIM_IC_ConfigChannel(&htim8, &sConfigIC, TIM_CHANNEL_2) != HAL_OK)
  {
    Error_Handler();
  }

}

static void MX_USART1_UART_Init(void)
{

  huart1.Instance = USART1;
  huart1.Init.BaudRate = 115200;
  huart1.Init.WordLength = UART_WORDLENGTH_8B;
  huart1.Init.StopBits = UART_STOPBITS_1;
  huart1.Init.Parity = UART_PARITY_NONE;
  huart1.Init.Mode = UART_MODE_TX_RX;
  huart1.Init.HwFlowCtl = UART_HWCONTROL_NONE;
  huart1.Init.OverSampling = UART_OVERSAMPLING_16;
  huart1.Init.OneBitSampling = UART_ONE_BIT_SAMPLE_DISABLE;
  huart1.Init.ClockPrescaler = UART_PRESCALER_DIV1;
  huart1.AdvancedInit.AdvFeatureInit = UART_ADVFEATURE_NO_INIT;
  if (HAL_UART_Init(&huart1) != HAL_OK)
  {
    Error_Handler();
  }
  if (HAL_UARTEx_SetTxFifoThreshold(&huart1, UART_TXFIFO_THRESHOLD_1_8) != HAL_OK)
  {
    Error_Handler();
  }
  if (HAL_UARTEx_SetRxFifoThreshold(&huart1, UART_RXFIFO_THRESHOLD_1_8) != HAL_OK)
  {
    Error_Handler();
  }
  if (HAL_UARTEx_EnableFifoMode(&huart1) != HAL_OK)
  {
    Error_Handler();
  }

}

static void MX_USART3_UART_Init(void)
{

  huart3.Instance = USART3;
  huart3.Init.BaudRate = 115200;
  huart3.Init.WordLength = UART_WORDLENGTH_8B;
  huart3.Init.StopBits = UART_STOPBITS_1;
  huart3.Init.Parity = UART_PARITY_NONE;
  huart3.Init.Mode = UART_MODE_TX_RX;
  huart3.Init.HwFlowCtl = UART_HWCONTROL_NONE;
  huart3.Init.OverSampling = UART_OVERSAMPLING_16;
  huart3.Init.OneBitSampling = UART_ONE_BIT_SAMPLE_DISABLE;
  huart3.Init.ClockPrescaler = UART_PRESCALER_DIV1;
  huart3.AdvancedInit.AdvFeatureInit = UART_ADVFEATURE_NO_INIT;
  if (HAL_UART_Init(&huart3) != HAL_OK)
  {
    Error_Handler();
  }
  if (HAL_UARTEx_SetTxFifoThreshold(&huart3, UART_TXFIFO_THRESHOLD_1_8) != HAL_OK)
  {
    Error_Handler();
  }
  if (HAL_UARTEx_SetRxFifoThreshold(&huart3, UART_RXFIFO_THRESHOLD_1_8) != HAL_OK)
  {
    Error_Handler();
  }
  if (HAL_UARTEx_DisableFifoMode(&huart3) != HAL_OK)
  {
    Error_Handler();
  }

}

static void MX_DMA_Init(void)
{

  /* DMA controller clock enable */
  __HAL_RCC_DMA1_CLK_ENABLE();

  /* DMA interrupt init */
  /* DMA1_Stream0_IRQn interrupt configuration */
  HAL_NVIC_SetPriority(DMA1_Stream0_IRQn, 0, 0);
  HAL_NVIC_EnableIRQ(DMA1_Stream0_IRQn);
  /* DMA1_Stream1_IRQn interrupt configuration */
  HAL_NVIC_SetPriority(DMA1_Stream1_IRQn, 0, 0);
  HAL_NVIC_EnableIRQ(DMA1_Stream1_IRQn);
  /* DMA1_Stream2_IRQn interrupt configuration */
  HAL_NVIC_SetPriority(DMA1_Stream2_IRQn, 0, 0);
  HAL_NVIC_EnableIRQ(DMA1_Stream2_IRQn);

}

static void MX_GPIO_Init(void)
{
  GPIO_InitTypeDef GPIO_InitStruct = {0};

  /* GPIO Ports Clock Enable */
  __HAL_RCC_GPIOE_CLK_ENABLE();
  __HAL_RCC_GPIOC_CLK_ENABLE();
  __HAL_RCC_GPIOA_CLK_ENABLE();
  __HAL_RCC_GPIOB_CLK_ENABLE();
  __HAL_RCC_GPIOD_CLK_ENABLE();

  /*Configure GPIO pin Output Level */
  HAL_GPIO_WritePin(GPIOB, GPIO_PIN_2|GPIO_PIN_8, GPIO_PIN_RESET);

  /*Configure GPIO pin Output Level */
  HAL_GPIO_WritePin(GPIOE, GPIO_PIN_15, GPIO_PIN_RESET);

  /*Configure GPIO pin Output Level */
  HAL_GPIO_WritePin(GPIOD, GPIO_PIN_5|GPIO_PIN_6, GPIO_PIN_RESET);

  /*Configure GPIO pins : PE2 PE3 PE4 PE5
                           PE6 PE7 PE8 PE9
                           PE10 PE11 PE12 PE0
                           PE1 */
  GPIO_InitStruct.Pin = GPIO_PIN_2|GPIO_PIN_3|GPIO_PIN_4|GPIO_PIN_5
                          |GPIO_PIN_6|GPIO_PIN_7|GPIO_PIN_8|GPIO_PIN_9
                          |GPIO_PIN_10|GPIO_PIN_11|GPIO_PIN_12|GPIO_PIN_0
                          |GPIO_PIN_1;
  GPIO_InitStruct.Mode = GPIO_MODE_INPUT;
  GPIO_InitStruct.Pull = GPIO_NOPULL;
  HAL_GPIO_Init(GPIOE, &GPIO_InitStruct);

  /*Configure GPIO pins : PA3 PA4 PA5 PA8
                           PA10 PA11 */
  GPIO_InitStruct.Pin = GPIO_PIN_3|GPIO_PIN_4|GPIO_PIN_5|GPIO_PIN_8
                          |GPIO_PIN_10|GPIO_PIN_11;
  GPIO_InitStruct.Mode = GPIO_MODE_INPUT;
  GPIO_InitStruct.Pull = GPIO_NOPULL;
  HAL_GPIO_Init(GPIOA, &GPIO_InitStruct);

  /*Configure GPIO pins : PB2 PB8 */
  GPIO_InitStruct.Pin = GPIO_PIN_2|GPIO_PIN_8;
  GPIO_InitStruct.Mode = GPIO_MODE_OUTPUT_PP;
  GPIO_InitStruct.Pull = GPIO_NOPULL;
  GPIO_InitStruct.Speed = GPIO_SPEED_FREQ_LOW;
  HAL_GPIO_Init(GPIOB, &GPIO_InitStruct);

  /*Configure GPIO pin : PE15 */
  GPIO_InitStruct.Pin = GPIO_PIN_15;
  GPIO_InitStruct.Mode = GPIO_MODE_OUTPUT_PP;
  GPIO_InitStruct.Pull = GPIO_NOPULL;
  GPIO_InitStruct.Speed = GPIO_SPEED_FREQ_LOW;
  HAL_GPIO_Init(GPIOE, &GPIO_InitStruct);

  /*Configure GPIO pin : PC12 */
  GPIO_InitStruct.Pin = GPIO_PIN_12;
  GPIO_InitStruct.Mode = GPIO_MODE_INPUT;
  GPIO_InitStruct.Pull = GPIO_NOPULL;
  HAL_GPIO_Init(GPIOC, &GPIO_InitStruct);

  /*Configure GPIO pins : PD3 PD4 */
  GPIO_InitStruct.Pin = GPIO_PIN_3|GPIO_PIN_4;
  GPIO_InitStruct.Mode = GPIO_MODE_INPUT;
  GPIO_InitStruct.Pull = GPIO_NOPULL;
  HAL_GPIO_Init(GPIOD, &GPIO_InitStruct);

  /*Configure GPIO pins : PD5 PD6 */
  GPIO_InitStruct.Pin = GPIO_PIN_5|GPIO_PIN_6;
  GPIO_InitStruct.Mode = GPIO_MODE_OUTPUT_PP;
  GPIO_InitStruct.Pull = GPIO_NOPULL;
  GPIO_InitStruct.Speed = GPIO_SPEED_FREQ_LOW;
  HAL_GPIO_Init(GPIOD, &GPIO_InitStruct);

  /*Configure GPIO pins : PB3 PB4 PB5 PB6
                           PB7 */
  GPIO_InitStruct.Pin = GPIO_PIN_3|GPIO_PIN_4|GPIO_PIN_5|GPIO_PIN_6
                          |GPIO_PIN_7;
  GPIO_InitStruct.Mode = GPIO_MODE_INPUT;
  GPIO_InitStruct.Pull = GPIO_NOPULL;
  HAL_GPIO_Init(GPIOB, &GPIO_InitStruct);

}

void Error_Handler(void)
{
  __disable_irq();
  while (1)
  {
  }
}

/************************ (C) COPYRIGHT STMicroelectronics *****END OF FILE****/
